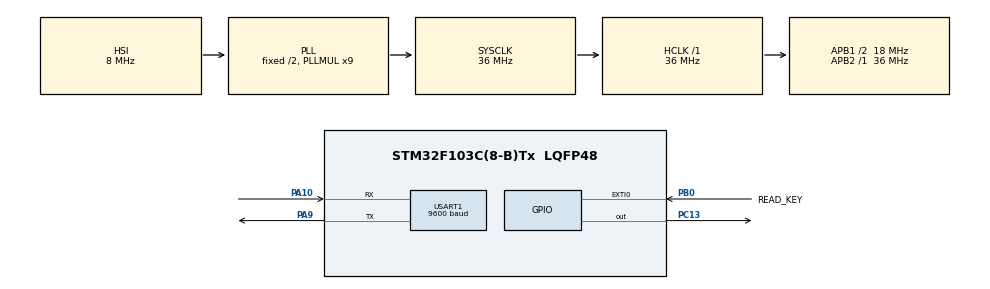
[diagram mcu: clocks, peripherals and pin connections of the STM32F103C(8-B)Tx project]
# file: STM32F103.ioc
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Mcu.Family=STM32F1
Mcu.Name=STM32F103C(8-B)Tx
Mcu.Package=LQFP48
NVIC.EXTI0_IRQn=true\:1\:0\:true\:false\:true\:true\:true\:true
NVIC.PriorityGroup=NVIC_PRIORITYGROUP_4
NVIC.TIM1_UP_IRQn=true\:0\:0\:false\:false\:true\:true\:true\:true
NVIC.USART1_IRQn=true\:0\:0\:true\:false\:true\:true\:true\:true
PA10.Mode=Asynchronous
PA10.Signal=USART1_RX
PA13.Mode=Serial_Wire
PA13.Signal=SYS_JTMS-SWDIO
PA14.Mode=Serial_Wire
PA14.Signal=SYS_JTCK-SWCLK
PA9.Mode=Asynchronous
PA9.Signal=USART1_TX
PB0.GPIO_Label=READ_KEY
PB0.GPIO_ModeDefaultEXTI=GPIO_MODE_IT_FALLING
PB0.GPIO_PuPd=GPIO_PULLUP
PB0.Signal=GPXTI0
PC13-TAMPER-RTC.PinState=GPIO_PIN_SET
PC13-TAMPER-RTC.Signal=GPIO_Output
PD0-OSC_IN.Mode=HSE-External-Oscillator
PD0-OSC_IN.Signal=RCC_OSC_IN
PD1-OSC_OUT.Mode=HSE-External-Oscillator
PD1-OSC_OUT.Signal=RCC_OSC_OUT
ProjectManager.HeapSize=0x200
ProjectManager.StackSize=0x400
ProjectManager.TargetToolchain=MDK-ARM V5.32
RCC.AHBFreq_Value=36000000
RCC.APB1CLKDivider=RCC_HCLK_DIV2
RCC.APB1Freq_Value=18000000
RCC.APB1TimFreq_Value=36000000
RCC.APB2Freq_Value=36000000
RCC.APB2TimFreq_Value=36000000
RCC.HCLKFreq_Value=36000000
RCC.PLLMUL=RCC_PLL_MUL9
RCC.SYSCLKFreq_VALUE=36000000
RCC.SYSCLKSource=RCC_SYSCLKSOURCE_PLLCLK
RCC.USBFreq_Value=36000000
TIM1.AutoReloadPreload=TIM_AUTORELOAD_PRELOAD_ENABLE
TIM1.Period=5000-1
TIM1.Prescaler=10000-1
USART1.BaudRate=9600
USART1.VirtualMode=VM_ASYNC
VP_TIM1_VS_ClockSourceINT.Mode=Internal
board=custom

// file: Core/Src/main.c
/* USER CODE BEGIN Header */
/**
  ******************************************************************************
  * @file           : main.c
  * @brief          : Main program body
  ******************************************************************************
  * @attention
  *
  * Copyright (c) 2023 STMicroelectronics.
  * All rights reserved.
  *
  * This software is licensed under terms that can be found in the LICENSE file
  * in the root directory of this software component.
  * If no LICENSE file comes with this software, it is provided AS-IS.
  *
  ******************************************************************************
  */
/* USER CODE END Header */
#include "main.h"
#include "tim.h"
#include "usart.h"
#include "gpio.h"

/* USER CODE BEGIN Includes */
#include <string.h>
#include <stdio.h>

#define RXBUFFERSIZE  256     //最大接收字节数
char RxBuffer[RXBUFFERSIZE];   //接收数据
uint8_t aRxBuffer;			//接收中断缓冲
uint8_t Uart1_Rx_Cnt = 0;		//接收缓冲计数
char ch[8][8] = {"a", "b", "S", "D","N"};//自己定义

//中断标志位
uint8_t exit_flag = 0;
uint8_t rising_falling_flag;
/* USER CODE END Includes */

void SystemClock_Config(void);

int main(void)
{

  /* MCU Configuration--------------------------------------------------------*/

  /* Reset of all peripherals, Initializes the Flash interface and the Systick. */
  HAL_Init();

  /* Configure the system clock */
  SystemClock_Config();

  /* Initialize all configured peripherals */
  MX_GPIO_Init();
  MX_USART1_UART_Init();
  MX_TIM1_Init();
  /* USER CODE BEGIN 2 */
	HAL_UART_Receive_IT(&huart1, (uint8_t *)&aRxBuffer, 1);
  /* USER CODE END 2 */

  /* Infinite loop */
  while (1)
  {

    /* USER CODE BEGIN 3 */
	  /*
	  在主循环中，首先通过边沿检测标志 rising_falling_flag 来判断按键是处于按下还是松开的边沿，如果是下降的边沿（rising_falling_flag == GPIO_PIN_RESET）则将LED灯熄灭，如果是如果是上升的边沿（rising_falling_flag == GPIO_PIN_SET）则将LED灯点亮。为了防止误触发，通过边沿检测的判断之后，程序还会再对电平进行一次读取，确认下降沿后跟随的是低电平或者上升沿后跟随的是高电平，如果不是则不切换LED状态。

在中断回调函数中，利用HAL_GPIO_ReadPin对rising_falling_flag进行赋值，从而判断触发中断的是上升沿还是下降沿。

使用exit_flag来实现主循环和中断回调函数之间的互斥，保证中断处理函数中的功能（判断上升/下降沿）只在主循环完成判断之后进行，或者主循环的判断只在中断处理函数运行（即检测到了一次上升沿或者下降沿）之后再进行。

	  */
	  if (exit_flag == 1)
        {
            exit_flag = 2;
            if (rising_falling_flag == GPIO_PIN_RESET)
            {
                // 消抖
                HAL_Delay(20);
                if (HAL_GPIO_ReadPin(GPIOB, GPIO_PIN_0) == GPIO_PIN_RESET)
                {
                    printf("0001");
                }
            }
            exit_flag = 0;
        }
		// 增加一个简单的延时操作，以确保编译器不会优化掉整个循环（？）
        for (volatile uint32_t i = 0; i < 1000; ++i)
        {
            __NOP();
        }
  }
  /* USER CODE END 3 */
}

void SystemClock_Config(void)
{
  RCC_OscInitTypeDef RCC_OscInitStruct = {0};
  RCC_ClkInitTypeDef RCC_ClkInitStruct = {0};

  /** Initializes the RCC Oscillators according to the specified parameters
  * in the RCC_OscInitTypeDef structure.
  */
  RCC_OscInitStruct.OscillatorType = RCC_OSCILLATORTYPE_HSI;
  RCC_OscInitStruct.HSIState = RCC_HSI_ON;
  RCC_OscInitStruct.HSICalibrationValue = RCC_HSICALIBRATION_DEFAULT;
  RCC_OscInitStruct.PLL.PLLState = RCC_PLL_ON;
  RCC_OscInitStruct.PLL.PLLSource = RCC_PLLSOURCE_HSI_DIV2;
  RCC_OscInitStruct.PLL.PLLMUL = RCC_PLL_MUL9;
  if (HAL_RCC_OscConfig(&RCC_OscInitStruct) != HAL_OK)
  {
    Error_Handler();
  }

  /** Initializes the CPU, AHB and APB buses clocks
  */
  RCC_ClkInitStruct.ClockType = RCC_CLOCKTYPE_HCLK|RCC_CLOCKTYPE_SYSCLK
                              |RCC_CLOCKTYPE_PCLK1|RCC_CLOCKTYPE_PCLK2;
  RCC_ClkInitStruct.SYSCLKSource = RCC_SYSCLKSOURCE_PLLCLK;
  RCC_ClkInitStruct.AHBCLKDivider = RCC_SYSCLK_DIV1;
  RCC_ClkInitStruct.APB1CLKDivider = RCC_HCLK_DIV2;
  RCC_ClkInitStruct.APB2CLKDivider = RCC_HCLK_DIV1;

  if (HAL_RCC_ClockConfig(&RCC_ClkInitStruct, FLASH_LATENCY_1) != HAL_OK)
  {
    Error_Handler();
  }
}

/* USER CODE BEGIN 4 */
/*中断回调函数*/
/* 中断回调函数 */
void HAL_GPIO_EXTI_Callback(uint16_t GPIO_Pin)
{
    if (GPIO_Pin == GPIO_PIN_0)
    {
        if (exit_flag == 0)
        {
            exit_flag = 1;
            rising_falling_flag = HAL_GPIO_ReadPin(GPIOB, GPIO_PIN_0);
        }
    }
}
//	int i, j;
//	if(GPIO_Pin == GPIO_PIN_0){
//		//HAL_TIM_Base_Start_IT(&htim1);       //通过这行代码，以中断的方式启动定时器
//		for(i = 80;i > 0;i--)
//			for(j = 5000;j >= 0;j--)
//			;
//		if(GPIO_Pin == GPIO_PIN_0){
//			printf("0001");
//		}
//	}

/* 定时器中断回调函数 */

//void HAL_TIM_PeriodElapsedCallback(TIM_HandleTypeDef *htim)
//{
//	/* 判断进入中断定时器是否为TIM7 */
//	if (htim == &htim1){
//	}
//}

void HAL_UART_RxCpltCallback(UART_HandleTypeDef *huart)
{

	UNUSED(huart);
	if(Uart1_Rx_Cnt >= 255)  //溢出判断
	{
		Uart1_Rx_Cnt = 0;
		memset(RxBuffer,0x00,sizeof(RxBuffer));
		HAL_UART_Transmit(&huart1, (uint8_t *)"数据溢出", 10,0xFFFF);
	}
	else
	{
		RxBuffer[Uart1_Rx_Cnt++] = aRxBuffer;   //接收数据转存

		if((RxBuffer[Uart1_Rx_Cnt-1] == '!')&&(RxBuffer[Uart1_Rx_Cnt-2] == '!')) //判断结束位
		{
			RxBuffer[Uart1_Rx_Cnt-1] = '\0';
			RxBuffer[Uart1_Rx_Cnt-2] = '\0';
			int j;

			printf("%s", RxBuffer);
			printf("接收成功！！！\r\n");
			if (strstr((const char*)RxBuffer,ch[0]))
			{
				printf("接收成功！！！\r\n");
			}
			Uart1_Rx_Cnt = 0;
			memset(RxBuffer,0x00,sizeof(RxBuffer)); //清空数组
		}
	}

	HAL_UART_Receive_IT(&huart1, (uint8_t *)&aRxBuffer, 1);   //再开启接收中断

}
/* USER CODE END 4 */

void Error_Handler(void)
{
  __disable_irq();
  while (1)
  {
  }
}
